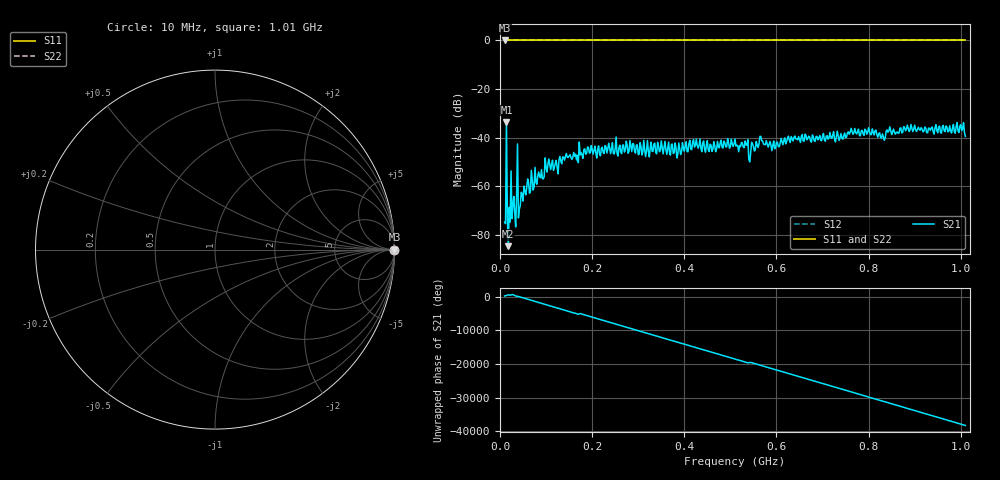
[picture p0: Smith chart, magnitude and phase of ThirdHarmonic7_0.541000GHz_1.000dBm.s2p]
! 8/17/2025 4:15:57 PM
! C:\ANRITSUVNA\TEMP\TEMP.S2P
! CHANNEL.1
! TR.MEASUREMENT
! RAW.DATA
! RF.CORRECTION.OFF
! AVERAGING.OFF
! IF.BANDWIDTH: 5KHZ
! SWEEPTYPE:  FREQ.SWEEP(Linear)
! Reference Plane Port Info
! PORT:  PORT1  PORT2
! DISTANCE:  0  m  0  m
! TIME:  0  s  0  s
! PHASE.OFFSET:  0  deg.  0  deg.
! LOSS:  0  dB  0  dB
! REF.LOSS:  0  dB  0  dB
! REF.FREQ:  0  Hz  0  Hz
! Power Info
! POWER:  -20  dBm  -20  dBm
! EFF.POWER:  -20  dBm  -20  dBm
! SOURCE.ATTEN:  0  dB  0  dB
! TEST.ATTEN:  0  dB  0  dB
# GHZ S RI R 50.0
! FREQ.GHZ  S11RE  S11IM  S21RE  S21IM  S12RE  S12IM  S22RE  S22IM
!; PortSelection: Port_12
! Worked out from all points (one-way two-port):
!   501 points, 10 MHz to 1.01 GHz, reference 50 ohm
!   highest |S21| = -33.54 dB at 14 MHz (marker M1); lowest = -84.7 dB at 18 MHz (marker M2)
!   lowest |S11| = 0.0 dB at 10 MHz (marker M3)
!   |S11| at or under -10 dB: nowhere
!   |S22| runs from 0.0 to 0.0 dB; largest |S21 - S12| = 1
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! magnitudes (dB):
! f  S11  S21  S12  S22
! 10 MHz  0.0  -74.9  0.0  0.0
! 14 MHz  0.0  -33.5  0.0  0.0
! 18 MHz  0.0  -84.7  0.0  0.0
! 22 MHz  0.0  -74.8  0.0  0.0
! 28 MHz  0.0  -67.6  0.0  0.0
! 30 MHz  0.0  -64.2  0.0  0.0
! 34 MHz  0.0  -76.8  0.0  0.0
! 42 MHz  0.0  -69.5  0.0  0.0
! 44 MHz  0.0  -68.0  0.0  0.0
! 56 MHz  0.0  -63.6  0.0  0.0
! 92 MHz  0.0  -56.9  0.0  0.0
! 102 MHz  0.0  -54.3  0.0  0.0
! 178 MHz  0.0  -47.2  0.0  0.0
! 344 MHz  0.0  -43.4  0.0  0.0
! 510 MHz  0.0  -40.5  0.0  0.0
! 544 MHz  0.0  -46.3  0.0  0.0
! 566 MHz  0.0  -39.5  0.0  0.0
! 594 MHz  0.0  -41.4  0.0  0.0
! 678 MHz  0.0  -38.9  0.0  0.0
! 832 MHz  0.0  -39.6  0.0  0.0
! 844 MHz  0.0  -37.2  0.0  0.0
! 1.01 GHz  0.0  -39.6  0.0  0.0
